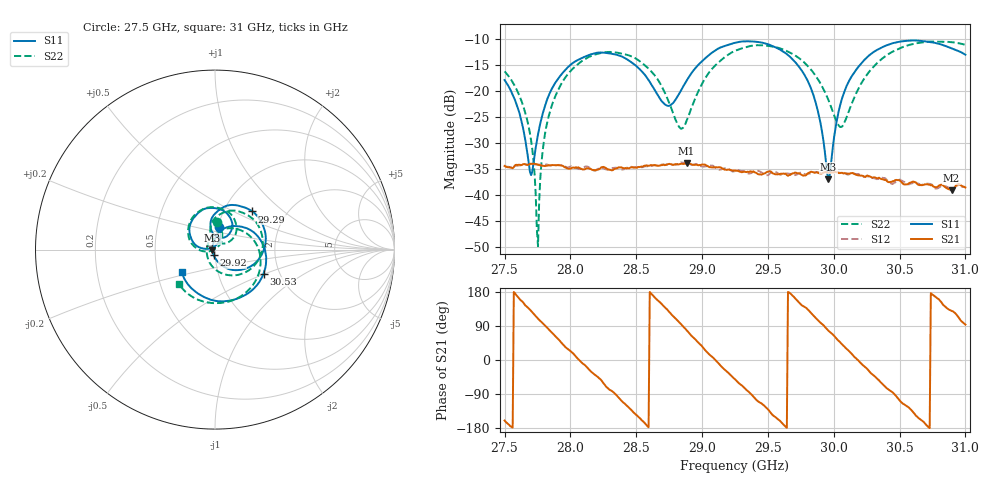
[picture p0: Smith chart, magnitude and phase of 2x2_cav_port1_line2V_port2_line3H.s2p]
!Created with skrf (http://scikit-rf.org).
# GHz S RI R 50.0
!freq ReS11 ImS11 ReS21 ImS21 ReS12 ImS12 ReS22 ImS22
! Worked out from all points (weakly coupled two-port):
!   401 points, 27.5 GHz to 31 GHz, reference 50 ohm
!   highest |S21| = -33.88 dB at 28.88 GHz (marker M1); lowest = -39.0 dB at 30.89 GHz (marker M2)
!   lowest |S11| = -36.9 dB at 29.96 GHz (marker M3), VSWR 1.03, Z = 48.6 - j0.281 ohm
!   |S11| at or under -10 dB: start of sweep to end of sweep
!   |S22| runs from -49.8 to -10.5 dB; largest |S21 - S12| = 0.0014
!   S11 on the Smith chart (normalised r, x): 27.5 GHz: 1.01, +0.26; 29.29 GHz: 1.36, +0.63; 29.92 GHz: 0.98, -0.06; 30.53 GHz: 1.65, -0.49; 31 GHz: 0.67, -0.18
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27.5  0.0236 0.1256  -0.0179 -0.00665  -0.0175 -0.00712  0.00865 0.1546
27.605  0.0291 0.0593  -0.019 0.00518  -0.0187 0.00499  0.0408 0.086
27.6925  -0.00306 0.0165  -0.0136 0.0147  -0.0134 0.0146  0.0272 0.0284
27.75375  -0.0382 0.00449  -0.00645 0.0186  -0.00676 0.0184  -0.00305 0.00111
27.7975  -0.0658 0.00611  -0.00135 0.0191  -0.00153 0.0197  -0.0311 -0.00953
27.85  -0.0984 0.0183  0.00488 0.0188  0.0049 0.0187  -0.0663 -0.00927
28.08625  -0.1266 0.1647  0.0177 -0.00219  0.0181 -0.0016  -0.1478 0.126
28.40125  0.0683 0.2003  -0.00694 -0.0169  -0.00619 -0.0166  0.0493 0.2222
28.6725  0.0551 0.0687  -0.0174 0.00824  -0.0177 0.00818  0.1042 0.0668
28.8825  -0.0243 0.1239  0.00402 0.0198  0.00419 0.0197  -0.00295 0.052
29.25  0.1798 0.2288  0.011 -0.0134  0.0111 -0.0129  0.1114 0.2169
29.285  0.2079 0.2128  0.00769 -0.015  0.00816 -0.0153  0.1414 0.2101
29.62625  0.2224 -0.0767  -0.0159 -0.00193  -0.0159 -0.00256  0.2415 -0.0583
29.83625  0.0413 -0.0901  -0.00846 0.0145  -0.0084 0.014  0.0665 -0.1409
29.92375  -0.00797 -0.0309  -0.00031 0.0166  -6.29e-05 0.0166  -0.00619 -0.1031
29.95875  -0.014 -0.00289  0.0035 0.0162  0.00335 0.0162  -0.0263 -0.0785
30.04625  0.00508 0.0712  0.011 0.0121  0.0111 0.0122  -0.0455 -0.00146
30.1075  0.0413 0.1118  0.0145 0.00725  0.0141 0.00698  -0.0301 0.0525
30.4225  0.2811 -0.0151  0.00237 -0.0132  0.00169 -0.0132  0.2267 0.0364
30.5275  0.2705 -0.1335  -0.00564 -0.0116  -0.00574 -0.0123  0.2539 -0.0791
30.895  -0.1113 -0.2325  -0.0071 0.00867  -0.00716 0.00914  -0.0944 -0.2795
31  -0.1847 -0.1264  -0.000699 0.0119  -0.00106 0.012  -0.202 -0.1923
